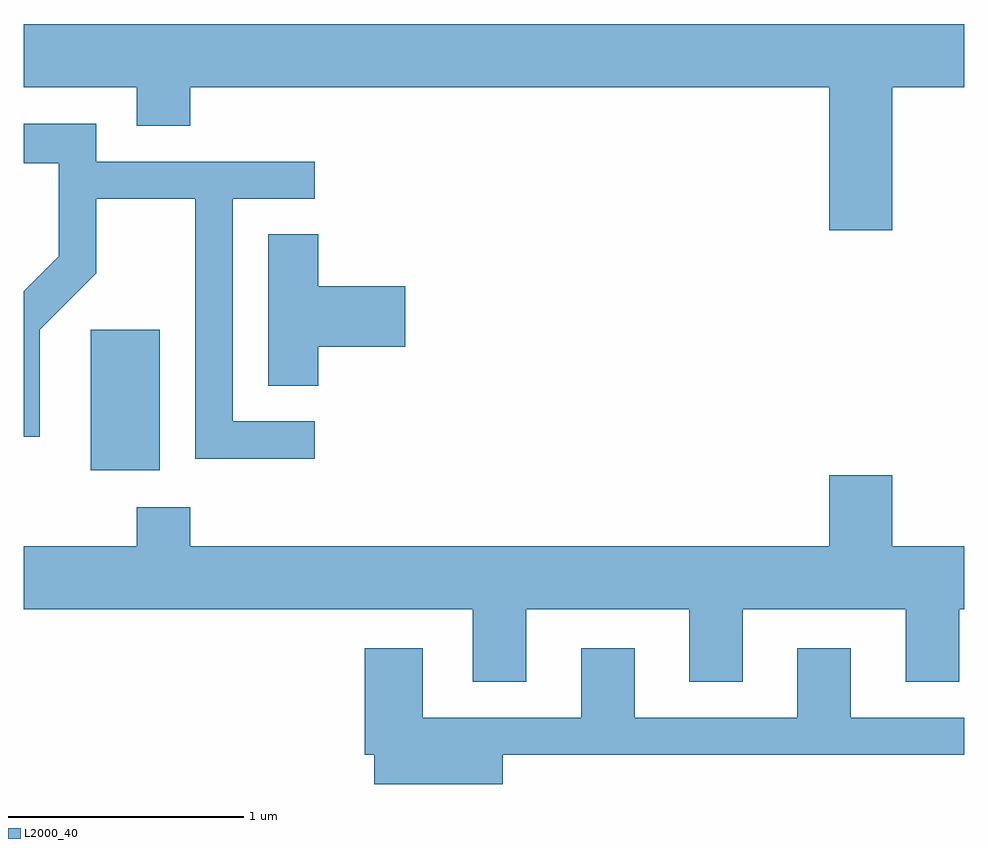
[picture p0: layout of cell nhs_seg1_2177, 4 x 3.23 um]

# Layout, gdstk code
import gdstk
lib = gdstk.Library(unit=1e-6, precision=1e-09)
def R(c, l, rs):  # rectangles x0, y0, x1, y1
    for r in rs: c.add(gdstk.rectangle(r[:2], r[2:], *l))
def P(c, l, *ps):  # polygons
    for p in ps: c.add(gdstk.Polygon(p, *l))
L2000_40 = (2000, 40)

nhs_seg1_2177 = lib.new_cell('nhs_seg1_2177')
R(nhs_seg1_2177, L2000_40, [(251.896,909.046,252.189,909.644)])
P(nhs_seg1_2177, L2000_40, [(255.304,910.676),(255.611,910.676),(255.611,910.944),(251.611,910.944),(251.611,910.676),(252.091,910.676),(252.091,910.511),(252.319,910.511),(252.319,910.676),(255.036,910.676),(255.036,910.066),(255.304,910.066)],
  [(252.848,909.254),(252.499,909.254),(252.499,910.201),(252.848,910.201),(252.848,910.359),(251.919,910.359),(251.919,910.519),(251.611,910.519),(251.611,910.351),(251.761,910.351),(251.761,909.957),(251.611,909.807),(251.611,909.188),(251.679,909.188),(251.679,909.644),(251.919,909.884),(251.919,910.201),(252.341,910.201),(252.341,909.096),(252.848,909.096)],
  [(252.864,909.571),(253.234,909.571),(253.234,909.829),(252.864,909.829),(252.864,910.049),(252.651,910.049),(252.651,909.406),(252.864,909.406)],
  [(255.036,909.024),(255.036,908.724),(252.319,908.724),(252.319,908.889),(252.091,908.889),(252.091,908.724),(251.611,908.724),(251.611,908.456),(253.521,908.456),(253.521,908.146),(253.749,908.146),(253.749,908.456),(254.441,908.456),(254.441,908.146),(254.669,908.146),(254.669,908.456),(255.361,908.456),(255.361,908.146),(255.589,908.146),(255.589,908.456),(255.611,908.456),(255.611,908.724),(255.304,908.724),(255.304,909.024)],
  [(253.649,907.836),(255.611,907.836),(255.611,907.994),(255.129,907.994),(255.129,908.289),(254.901,908.289),(254.901,907.994),(254.209,907.994),(254.209,908.289),(253.981,908.289),(253.981,907.994),(253.309,907.994),(253.309,908.289),(253.061,908.289),(253.061,907.836),(253.101,907.836),(253.101,907.712),(253.649,907.712)])

lib.write_gds('nhs_seg1_2177.gds')
